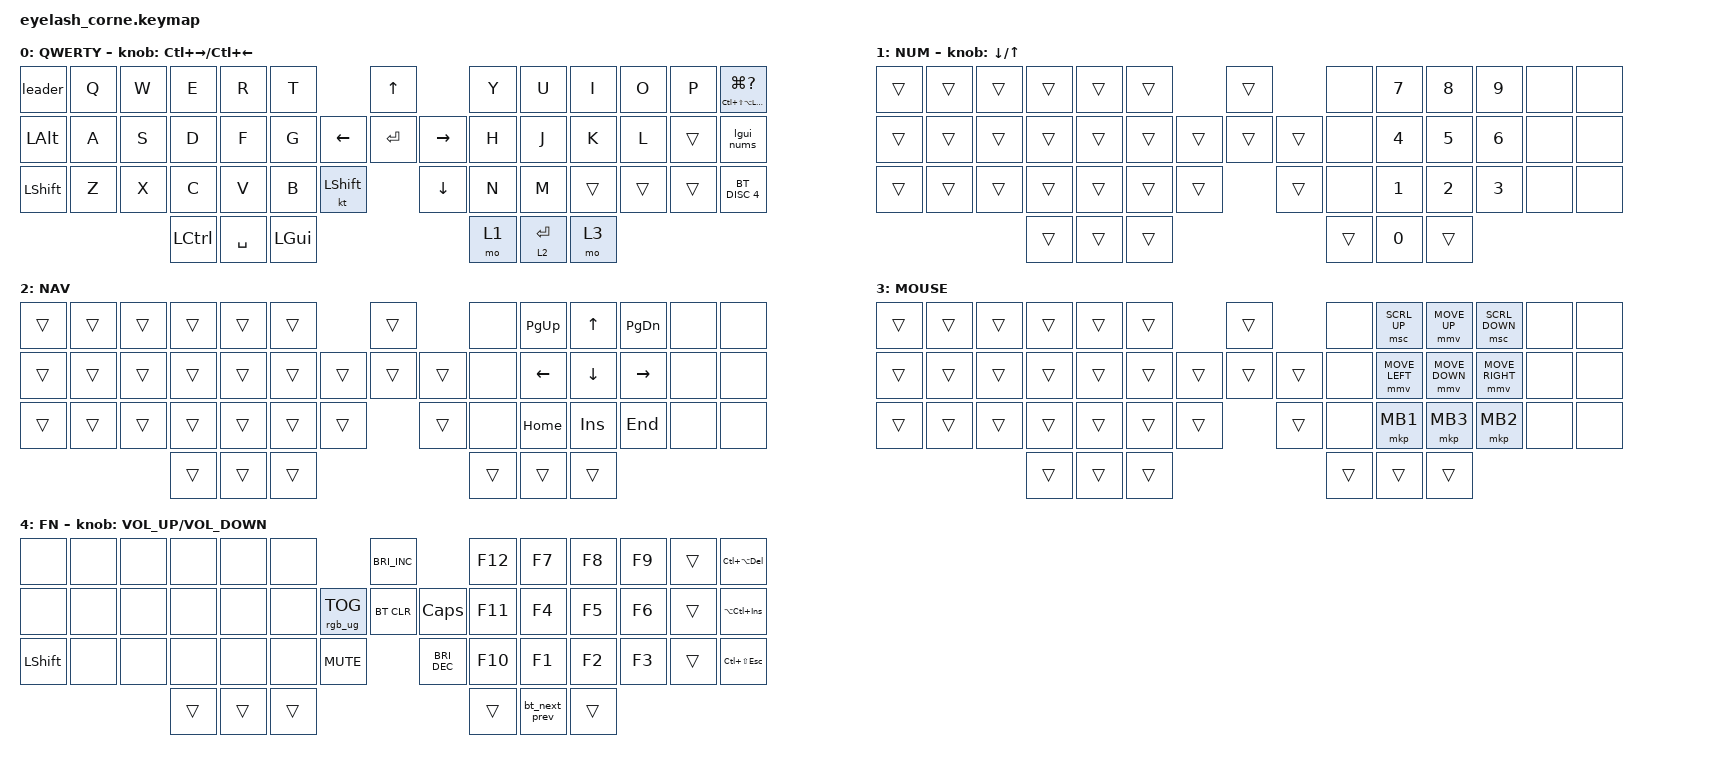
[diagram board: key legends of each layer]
#include <dt-bindings/zmk/mouse.h>
#include <input/processors.dtsi>
#include <behaviors/num_word.dtsi>
#include <behaviors.dtsi>
#include <dt-bindings/zmk/bt.h>
#include <dt-bindings/zmk/keys.h>
#include <dt-bindings/zmk/pointing.h>
#include <dt-bindings/zmk/rgb.h>

/*

   &mmv_input_listener {
       input-processors = <&zip_xy_scaler 2 1>;
   };

   &msc_input_listener {
       input-processors = <&zip_xy_scaler 2 1>;
   };

 */

#define ZMK_MOUSE_DEFAULT_MOVE_VAL 1200  // 600
#define ZMK_MOUSE_DEFAULT_SCRL_VAL 20    // 10

/ {
    layer_listeners {
        compatible = "zmk,layer-listeners";

        nav_num_feedback {
            layers = <1>;
            bindings = <&rgb_ug RGB_ON &rgb_ug RGB_OFF>;
        };
    };

    behaviors {
        leader: leader {
            compatible = "zmk,behavior-leader-key";
            #binding-cells = <0>;

            de_ss {
                sequence = <S S>;
                bindings = <&macro_de_ss>;
            };

            volei {
                sequence = <V V V>;
                bindings = <&volei>;
            };

            duzie {
                sequence = <D D D>;
                bindings = <&duzie>;
            };

            vim_x {
                sequence = <X X>;
                bindings = <&macro_vim_x>;
            };

            steven_duzie {
                sequence = <D U Z>;
                bindings = <&steven_duzie>;
            };

            mac_to_colon {
                sequence = <M A C C>;
                bindings = <&mac_to_colon>;
            };

            mac_to_dash {
                sequence = <M A C D>;
                bindings = <&mac_to_dash>;
            };

            iow_long {
                sequence = <I O W L>;
                bindings = <&iow_long>;
            };

            iow_short {
                sequence = <I O W S>;
                bindings = <&iow_short>;
            };
        };

        hold_tap_kp_kp: hold_tap_kp_kp {
            compatible = "zmk,behavior-hold-tap";
            label = "HOLD_TAP_KP_KP";
            bindings = <&kp>, <&kp>;

            #binding-cells = <2>;
            tapping-term-ms = <400>;
        };

        comma_semi: comma_semi {
            compatible = "zmk,behavior-mod-morph";
            label = "COMMA_SEMI";
            bindings = <&kp COMMA>, <&kp SEMI>;

            #binding-cells = <0>;
            mods = <(MOD_LSFT)>;
        };

        dot_colon: dot_colon {
            compatible = "zmk,behavior-mod-morph";
            label = "DOT_COLON";
            bindings = <&kp DOT>, <&kp LS(SEMI)>;

            #binding-cells = <0>;
            mods = <(MOD_LSFT)>;
        };

        bt_next_prev: bt_next_prev {
            compatible = "zmk,behavior-mod-morph";
            label = "BT_NEXT_PREV";
            bindings = <&bt BT_NXT>, <&bt BT_PRV>;

            #binding-cells = <0>;
            mods = <(MOD_LSFT)>;
        };

        enter_layer: enter_layer {
            compatible = "zmk,behavior-hold-tap";
            label = "ENTER_LAYER";
            bindings = <&mo>, <&kp>;

            #binding-cells = <2>;
            tapping-term-ms = <150>;
        };

        lgui_nums: lgui_nums {
            compatible = "zmk,behavior-tap-dance";
            label = "LGUI_NUMS";
            #binding-cells = <0>;
            bindings =
                <&kp LG(NUMBER_1)>,
                <&kp LG(NUMBER_2)>,
                <&kp LG(NUMBER_3)>,
                <&kp LG(NUMBER_4)>,
                <&kp LG(N5)>;
        };
    };

    combos {
        compatible = "zmk,combos";

        escape {
            bindings = <&kp ESC>;
            key-positions = <1 0>;
        };

        backspace {
            bindings = <&kp BACKSPACE>;
            key-positions = <23 24>;
        };

        del {
            bindings = <&kp DELETE>;
            key-positions = <24 25 23>;
        };

        tab {
            bindings = <&kp TAB>;
            key-positions = <24 25>;
        };

        equals {
            bindings = <&kp EQUAL>;
            key-positions = <22 23>;
            layers = <0>;
        };

        minus_underscore {
            bindings = <&kp MINUS>;
            key-positions = <36 37>;
        };

        slash {
            bindings = <&kp SLASH>;
            key-positions = <36 23>;
        };

        backslash {
            bindings = <&kp BACKSLASH>;
            key-positions = <22 37>;
            layers = <0>;
        };

        and {
            bindings = <&kp LS(N7)>;
            key-positions = <7 22>;
        };

        pipe {
            bindings = <&kp LS(BACKSLASH)>;
            key-positions = <23 8>;
        };

        backtic {
            bindings = <&backtick_force>;
            key-positions = <23 7>;
        };

        tilde {
            bindings = <&kp LS(GRAVE)>;
            key-positions = <37 8 23>;
        };

        single_quote {
            bindings = <&single_quote_force>;
            key-positions = <36 22>;
        };

        question {
            bindings = <&kp LS(SLASH)>;
            key-positions = <38 39 37>;
        };

        comma {
            bindings = <&comma_semi>;
            key-positions = <39 38>;
        };

        dot {
            bindings = <&dot_colon>;
            key-positions = <38 37>;
        };

        dollar {
            bindings = <&kp LS(NUMBER_4)>;
            key-positions = <9 8>;
        };

        exclamation {
            bindings = <&kp LS(N1)>;
            key-positions = <36 37 38>;
        };

        asterisk {
            bindings = <&kp LS(N8)>;
            key-positions = <22 23 24>;
        };

        percent {
            bindings = <&kp LS(N5)>;
            key-positions = <22 8>;
        };

        at {
            bindings = <&kp LS(NUMBER_2)>;
            key-positions = <8 9 10>;
        };

        caret_force {
            bindings = <&caret_force>;
            key-positions = <23 9 25>;
        };

        tilde_force {
            bindings = <&tilde_force>;
            key-positions = <23 37>;
        };

        hash {
            bindings = <&kp LS(NUMBER_3)>;
            key-positions = <7 8>;
        };

        euro {
            bindings = <&macro_euro>;
            key-positions = <9 10>;
        };

        quotes {
            bindings = <&kp APOSTROPHE>;
            key-positions = <36 22 7>;
        };

        open_parentheses {
            bindings = <&kp LS(N9)>;
            key-positions = <3 4>;
        };

        close_parentheses {
            bindings = <&kp LS(N0)>;
            key-positions = <4 5>;
        };

        open_brackets {
            bindings = <&kp LEFT_BRACKET>;
            key-positions = <31 32>;
        };

        close_brackets {
            bindings = <&kp RIGHT_BRACKET>;
            key-positions = <32 33>;
        };

        angled_open {
            bindings = <&kp LS(COMMA)>;
            key-positions = <16 17>;
        };

        angled_close {
            bindings = <&kp LS(DOT)>;
            key-positions = <17 18>;
        };
    };

    macros {
        volei: volei {
            compatible = "zmk,behavior-macro";
            #binding-cells = <0>;
            bindings = <&kp DOT &kp LS(V) &kp O &kp L &kp E &kp I &kp B &kp O &kp L &kp N1 &kp N8 &kp N0 &kp N9 &kp LS(N4) &kp RET>;
            label = "VOLEI";
        };

        // € — AltGr+5 (Linux/Win €) then ⇧+⌥+2 (iOS/macOS €). On Linux/Win the second key
        // leaves a stray char after the €; backspace it. iOS is the inverted case (€ lands last).

        macro_euro: macro_euro {
            compatible = "zmk,behavior-macro";
            #binding-cells = <0>;
            wait-ms = <40>;
            tap-ms = <40>;
            bindings =
                <&macro_press>,
                <&kp LSHFT>,
                <&macro_press>,
                <&kp LALT>,
                <&macro_tap>,
                <&kp N2>,
                <&macro_release>,
                <&kp LALT>,
                <&macro_release>,
                <&kp LSHFT>,
                <&macro_press>,
                <&kp RALT>,
                <&macro_tap>,
                <&kp N5>,
                <&macro_release>,
                <&kp RALT>;
        };

        // ß — AltGr+S. Universal for Linux us(intl) + Windows US-Intl; iOS unverified (test it).

        macro_de_ss: macro_de_ss {
            compatible = "zmk,behavior-macro";
            #binding-cells = <0>;
            wait-ms = <10>;
            tap-ms = <10>;
            bindings =
                <&macro_press>,
                <&kp RALT>,
                <&macro_tap>,
                <&kp S>,
                <&macro_release>,
                <&kp RALT>;
        };

        macro_vim_x: macro_vim_x {
            compatible = "zmk,behavior-macro";
            #binding-cells = <0>;
            bindings = <&kp ESC &kp COLON &kp X &kp ENTER>;
            label = "MACRO_VIM_X";
        };

        macro_vim_sudo_x: macro_vim_sudo_x {
            compatible = "zmk,behavior-macro";
            #binding-cells = <0>;
            bindings = <&kp ESC &kp COLON &kp W &kp SPACE &kp LS(N1) &kp S &kp U &kp D &kp O &kp SPACE &kp T &kp E &kp E &kp SPACE &kp LS(N5) &kp SPACE &kp LS(DOT) &kp SLASH &kp D &kp E &kp V &kp SLASH &kp N &kp U &kp L &kp L &kp ENTER>;
            label = "MACRO_VIM_SUDO_X";
        };

        duzie: duzie {
            compatible = "zmk,behavior-macro";
            #binding-cells = <0>;
            bindings = <&kp R &kp Y &kp LS(Z) &kp N &kp Y &kp C &kp MINUS &kp C &kp I &kp S &kp M &kp Y &kp N1 &kp MINUS &kp J &kp I &kp Q &kp J &kp I &kp X>;
            label = "DUZIE";
        };

        single_quote_force: single_quote_force {
            compatible = "zmk,behavior-macro";
            #binding-cells = <0>;
            bindings = <&kp SQT &kp SPACE>;
            label = "SINGLE_QUOTE_FORCE";
        };

        double_quote_force: double_quote_force {
            compatible = "zmk,behavior-macro";
            #binding-cells = <0>;
            bindings = <&kp LS(SQT) &kp SPACE>;
            label = "DOUBLE_QUOTE_FORCE";
        };

        tilde_force: tilde_force {
            compatible = "zmk,behavior-macro";
            #binding-cells = <0>;
            bindings = <&kp LS(GRAVE) &kp SPACE>;
            label = "TILDE_FORCE";
        };

        backtick_force: backtick_force {
            compatible = "zmk,behavior-macro";
            #binding-cells = <0>;
            bindings = <&kp GRAVE &kp SPACE>;
            label = "BACKTICK_FORCE";
        };

        caret_force: caret_force {
            compatible = "zmk,behavior-macro";
            #binding-cells = <0>;
            bindings = <&kp LS(NUMBER_6) &kp SPACE>;
            label = "CARET_FORCE";
        };

        steven_duzie: steven_duzie {
            compatible = "zmk,behavior-macro";
            #binding-cells = <0>;
            bindings = <&kp S &kp T &kp E &kp V &kp E &kp N &kp LS(NUMBER_2) &kp D &kp U &kp Z &kp DOT &kp I &kp E>;
            label = "STEVEN_DUZIE";
        };

        mac_to_colon: mac_to_colon {
            compatible = "zmk,behavior-macro";
            #binding-cells = <0>;
            bindings = <&kp LEFT_ARROW &kp LEFT &kp BACKSPACE &kp LS(SEMICOLON) &kp LEFT_ARROW &kp LEFT &kp BACKSPACE &kp LS(SEMICOLON) &kp LEFT_ARROW &kp LEFT &kp BACKSPACE &kp LS(SEMICOLON) &kp LEFT_ARROW &kp LEFT &kp BACKSPACE &kp LS(SEMICOLON) &kp LEFT_ARROW &kp LEFT &kp BACKSPACE &kp LS(SEMICOLON)>;
            label = "MAC_TO_COLON";
        };

        mac_to_dash: mac_to_dash {
            compatible = "zmk,behavior-macro";
            #binding-cells = <0>;
            bindings = <&kp LEFT_ARROW &kp LEFT &kp BACKSPACE &kp MINUS &kp LEFT_ARROW &kp LEFT &kp BACKSPACE &kp MINUS &kp LEFT_ARROW &kp LEFT &kp BACKSPACE &kp MINUS &kp LEFT_ARROW &kp LEFT &kp BACKSPACE &kp MINUS &kp LEFT_ARROW &kp LEFT &kp BACKSPACE &kp MINUS>;
            label = "MAC_TO_DASH";
        };

        iow_short: iow_short {
            compatible = "zmk,behavior-macro";
            #binding-cells = <0>;
            bindings = <&kp S &kp T &kp E &kp V &kp E &kp N &kp DOT &kp D &kp U &kp Z &kp E &kp V &kp I &kp C &kp H &kp AT &kp I &kp O &kp W &kp DOT &kp D &kp E>;
            label = "IOW_SHORT";
        };

        iow_long: iow_long {
            compatible = "zmk,behavior-macro";
            #binding-cells = <0>;
            bindings = <&kp S &kp T &kp E &kp V &kp E &kp N &kp DOT &kp D &kp U &kp Z &kp E &kp V &kp I &kp C &kp H &kp AT &kp I &kp O &kp MINUS &kp W &kp A &kp R &kp N &kp E &kp M &kp U &kp E &kp N &kp D &kp E &kp DOT &kp D &kp E>;
            label = "IOW_LONG";
        };
    };

    keymap {
        compatible = "zmk,keymap";

        default_layer {
            display-name = "QWERTY";
            bindings = <
&leader         &kp Q  &kp W  &kp E      &kp R      &kp T                                 &kp UP                 &kp Y  &kp U                 &kp I   &kp O   &kp P   &hold_tap_kp_kp LC(LS(LA(LEFT_GUI))) LG(QUESTION)
&kp LALT        &kp A  &kp S  &kp D      &kp F      &kp G                       &kp LEFT  &kp RETURN  &kp RIGHT  &kp H  &kp J                 &kp K   &kp L   &trans  &lgui_nums
&kp LEFT_SHIFT  &kp Z  &kp X  &kp C      &kp V      &kp B     &kt LEFT_SHIFT              &kp DOWN               &kp N  &kp M                 &trans  &trans  &trans  &bt BT_DISC 4
                              &kp LCTRL  &kp SPACE  &kp LGUI                                                     &mo 1  &enter_layer 2 ENTER  &mo 3
            >;

            sensor-bindings = <&inc_dec_kp LC(RIGHT) LC(LEFT)>;
        };

        numbers {
            display-name = "NUM";
            bindings = <
&trans  &trans  &trans  &trans  &trans  &trans                    &trans          &none   &kp N7  &kp N8  &kp N9  &none  &none
&trans  &trans  &trans  &trans  &trans  &trans            &trans  &trans  &trans  &none   &kp N4  &kp N5  &kp N6  &none  &none
&trans  &trans  &trans  &trans  &trans  &trans  &trans            &trans          &none   &kp N1  &kp N2  &kp N3  &none  &none
                        &trans  &trans  &trans                                    &trans  &kp N0  &trans
            >;

            sensor-bindings = <&inc_dec_kp DOWN UP>;
        };

        navigation {
            bindings = <
&trans  &trans  &trans  &trans  &trans  &trans                    &trans          &none   &kp PAGE_UP     &kp UP_ARROW    &kp PAGE_DOWN    &none  &none
&trans  &trans  &trans  &trans  &trans  &trans            &trans  &trans  &trans  &none   &kp LEFT_ARROW  &kp DOWN_ARROW  &kp RIGHT_ARROW  &none  &none
&trans  &trans  &trans  &trans  &trans  &trans  &trans            &trans          &none   &kp HOME        &kp INS         &kp END          &none  &none
                        &trans  &trans  &trans                                    &trans  &trans          &trans
            >;

            label = "NAV";
        };

        mouse {
            display-name = "MOUSE";
            bindings = <
&trans  &trans  &trans  &trans  &trans  &trans                    &trans          &none   &msc SCRL_UP    &mmv MOVE_UP    &msc SCRL_DOWN   &none  &none
&trans  &trans  &trans  &trans  &trans  &trans            &trans  &trans  &trans  &none   &mmv MOVE_LEFT  &mmv MOVE_DOWN  &mmv MOVE_RIGHT  &none  &none
&trans  &trans  &trans  &trans  &trans  &trans  &trans            &trans          &none   &mkp MB1        &mkp MB3        &mkp MB2         &none  &none
                        &trans  &trans  &trans                                    &trans  &trans          &trans
            >;
        };

        adjust {
            display-name = "FN";
            bindings = <
&none           &none  &none  &none   &none   &none                                  &kp C_BRIGHTNESS_INC            &kp F12  &kp F7         &kp F8  &kp F9  &trans  &kp LC(LA(DELETE))
&none           &none  &none  &none   &none   &none                 &rgb_ug RGB_TOG  &bt BT_CLR            &kp CLCK  &kp F11  &kp F4         &kp F5  &kp F6  &trans  &kp LA(LC(INSERT))
&kp LEFT_SHIFT  &none  &none  &none   &none   &none   &kp K_MUTE                     &kp C_BRIGHTNESS_DEC            &kp F10  &kp F1         &kp F2  &kp F3  &trans  &kp LC(LS(ESCAPE))
                              &trans  &trans  &trans                                                                 &trans   &bt_next_prev  &trans
            >;

            sensor-bindings = <&inc_dec_kp C_VOLUME_UP C_VOLUME_DOWN>;
        };
    };

    conditional_layers {
        compatible = "zmk,conditional-layers";

        adjust {
            if-layers = <1 3>;
            then-layer = <4>;
        };
    };
};
